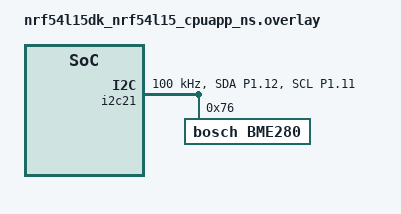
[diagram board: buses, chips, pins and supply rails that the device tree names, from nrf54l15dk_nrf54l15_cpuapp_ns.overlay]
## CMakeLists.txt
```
#
# Copyright (c) 2023 Nordic Semiconductor ASA
#
# SPDX-License-Identifier: LicenseRef-Nordic-5-Clause
#

cmake_minimum_required(VERSION 3.20.0)

# Zephyr CMake project
find_package(Zephyr REQUIRED HINTS $ENV{ZEPHYR_BASE})
project(sidewalk_sid_end_device)

# Source files
target_include_directories(app PRIVATE include)
target_sources(app PRIVATE
src/main.c
src/sidewalk.c
src/sidewalk_events.c
)

target_sources_ifdef(CONFIG_SIDEWALK_FILE_TRANSFER app PRIVATE 
    src/sbdt/scratch_buffer.c
)
target_sources_ifdef(CONFIG_SIDEWALK_FILE_TRANSFER_DFU app PRIVATE
    src/sbdt/dfu_file_transfer.c
)

if(CONFIG_SID_END_DEVICE_SENSOR_MONITORING)
    target_sources(app PRIVATE
        src/sensor_monitoring/app_buttons.c
        src/sensor_monitoring/app_leds.c
        src/sensor_monitoring/app_sensor.c
        src/sensor_monitoring/app_tx.c
        src/sensor_monitoring/app_rx.c
        src/sensor_monitoring/app.c
    )
elseif(CONFIG_SID_END_DEVICE_DUT)
    target_sources(app PRIVATE
        src/cli/app.c
    )
else()
    target_sources(app PRIVATE
        src/hello/app.c
    )
endif()

if(CONFIG_SID_END_DEVICE_CLI)
    target_sources(app PRIVATE
        src/cli/app_dut.c
        src/cli/app_shell.c
    )
    target_sources_ifdef(CONFIG_SIDEWALK_FILE_TRANSFER_SHELL app PRIVATE
        src/cli/sbdt_shell.c
        src/cli/sbdt_shell_events.c
        src/cli/sbdt_shell_file_transfer.c
    )
    target_sources_ifdef(CONFIG_SIDEWALK_ON_DEV_CERT app PRIVATE 
        src/cli/sid_on_dev_cert_cli.c
    )
    target_sources_ifdef(CONFIG_SIDEWALK_LOCATION_SHELL app PRIVATE
        src/cli/location_shell.c
        src/cli/location_shell_events.c
    )
endif()
```

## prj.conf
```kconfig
#
# Copyright (c) 2023 Nordic Semiconductor ASA
#
# SPDX-License-Identifier: LicenseRef-Nordic-5-Clause
#

CONFIG_STATIC_INIT_GNU=y

# Sidewalk
CONFIG_SIDEWALK=y
CONFIG_SMF=y

# Log
CONFIG_LOG=y
CONFIG_LOG_PRINTK=y
CONFIG_LOG_BUFFER_SIZE=4096

# Bluetooth
CONFIG_BT_DEVICE_NAME="Nordic"

# Stack and Heap
CONFIG_SYSTEM_WORKQUEUE_STACK_SIZE=4096
CONFIG_HEAP_MEM_POOL_SIZE=4096
CONFIG_MBEDTLS_HEAP_SIZE=4096

# Power Management
CONFIG_PM_DEVICE=y

# Debug
CONFIG_NCS_APPLICATION_BOOT_BANNER_STRING="Sidewalk"
CONFIG_RESET_ON_FATAL_ERROR=n
CONFIG_SYS_HEAP_RUNTIME_STATS=y

# BME280 / I2C sensor support
CONFIG_I2C=y
CONFIG_SENSOR=y
CONFIG_BME280=y
```

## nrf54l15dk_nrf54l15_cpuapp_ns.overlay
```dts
/*
 * Copyright (c) 2024 Nordic Semiconductor ASA
 *
 * SPDX-License-Identifier: LicenseRef-Nordic-5-Clause
 */

 /{
	aliases {
		state-notifier-connected = &led0;
		state-notifier-time-sync = &led1;
		state-notifier-registered = &led2;
		state-notifier-working = &led3;
	};
};

&cpuapp_rram {
	reg = <0x0 DT_SIZE_K(1524)>;
};

&cpuapp_sram {
	reg = <0x20000000 DT_SIZE_K(256)>;
	ranges = <0x0 0x20000000  0x40000>;
};

&adc {
	status = "disabled";
};

&uart21 {
	status = "disabled";
};

&pwm20 {
	status = "disabled";
};

&i2c20 {
	status = "disabled";
};

&spi20 {
	status = "disabled";
};

&spi22 {
	status = "disabled";
};

/*
 * BME280 on I2C.
 *
 * Wiring:
 *   BME280 VIN/VCC -> DK VDDIO
 *   BME280 GND     -> DK GND
 *   BME280 SDA     -> DK P1.12
 *   BME280 SCL     -> DK P1.11
 *   BME280 CSB     -> DK VDDIO
 *   BME280 SDO     -> DK GND
 *
 * SDO = GND selects I2C address 0x76.
 * If SDO is connected to VDDIO instead, change reg = <0x77>.
 */
&pinctrl {
	i2c21_default: i2c21_default {
		group1 {
			psels = <NRF_PSEL(TWIM_SDA, 1, 12)>,
				<NRF_PSEL(TWIM_SCL, 1, 11)>;
			bias-pull-up;
		};
	};

	i2c21_sleep: i2c21_sleep {
		group1 {
			psels = <NRF_PSEL(TWIM_SDA, 1, 12)>,
				<NRF_PSEL(TWIM_SCL, 1, 11)>;
			low-power-enable;
		};
	};
};

&i2c21 {
	compatible = "nordic,nrf-twim";
	status = "okay";
	pinctrl-0 = <&i2c21_default>;
	pinctrl-1 = <&i2c21_sleep>;
	pinctrl-names = "default", "sleep";
	clock-frequency = <I2C_BITRATE_STANDARD>;

	bme280: bme280@76 {
		compatible = "bosch,bme280";
		reg = <0x76>;
	};
};

// TODO: re-enable HWFC once it's fixed
&uart20 {
	/delete-property/ hw-flow-control;
};


// Change IRQ ids to handle button interrupts.

// The default values for nRF54L15 are 219 and 269,
// but with TF-M they are reserved for the secure domain
// (218 and 268 are reserved for the non-secure domain).
&gpiote20 {
	interrupts = <218 NRF_DEFAULT_IRQ_PRIORITY>;
};

&gpiote30 {
	interrupts = <268 NRF_DEFAULT_IRQ_PRIORITY>;
};
```

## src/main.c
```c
/*
 * Copyright (c) 2023 Nordic Semiconductor ASA
 *
 * SPDX-License-Identifier: LicenseRef-Nordic-5-Clause
 */

#include <app.h>
#include <zephyr/logging/log.h>
#include <sidewalk_version.h>

int main(void)
{
	PRINT_SIDEWALK_VERSION();

	app_start();

	return 0;
}
```

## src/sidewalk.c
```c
/*
 * Copyright (c) 2023 Nordic Semiconductor ASA
 *
 * SPDX-License-Identifier: LicenseRef-Nordic-5-Clause
 */
#include <sid_api.h>
#include <sid_error.h>
#include <sidewalk.h>

#include <zephyr/kernel.h>
#include <zephyr/logging/log.h>

LOG_MODULE_REGISTER(sidewalk_app, CONFIG_SIDEWALK_LOG_LEVEL);

static struct k_thread sid_thread;
K_THREAD_STACK_DEFINE(sid_thread_stack, CONFIG_SIDEWALK_THREAD_STACK_SIZE);

K_MSGQ_DEFINE(sidewalk_thread_msgq, sizeof(sidewalk_ctx_event_t), CONFIG_SIDEWALK_THREAD_QUEUE_SIZE,
	      4);

K_SEM_DEFINE(sid_thread_started, 0, 1);

static void sid_thread_entry(void *context, void *unused, void *unused2)
{
	ARG_UNUSED(unused);
	ARG_UNUSED(unused2);

	sidewalk_ctx_t *sid = (sidewalk_ctx_t *)context;
	sidewalk_ctx_event_t event = {};

	k_sem_give(&sid_thread_started);

	while (1) {
		int err = k_msgq_get(&sidewalk_thread_msgq, &event, K_FOREVER);
		switch (err) {
		case 0: {
			LOG_DBG("event received %p (%s) sidewalk workq usage (%d/%d) ( after get )",
				(void *)(event.handler), EVENT_TO_NAME(event.handler),
				k_msgq_num_used_get(&sidewalk_thread_msgq),
				CONFIG_SIDEWALK_THREAD_QUEUE_SIZE);
			if (event.handler) {
				event.handler(sid, event.ctx);
			}
			if (event.ctx_free) {
				event.ctx_free(event.ctx);
			}
			break;
		}
		case -EAGAIN:
		case -ENOMSG: {
			// Do nothing, timeout
			break;
		}
		default: {
			LOG_ERR("Sidewalk msgq err %d", err);
		}
		}
	}

	LOG_ERR("Sidewalk thread ends. You should never see this message.");
}

void sidewalk_start(sidewalk_ctx_t *context)
{
	(void)k_thread_create(&sid_thread, sid_thread_stack,
			      K_THREAD_STACK_SIZEOF(sid_thread_stack), sid_thread_entry, context,
			      NULL, NULL, CONFIG_SIDEWALK_THREAD_PRIORITY, 0, K_NO_WAIT);
	(void)k_thread_name_set(&sid_thread, "sidewalk");
	k_sem_take(&sid_thread_started, K_FOREVER);
}

int sidewalk_event_send(event_handler_t event, void *ctx, ctx_free free)
{
	sidewalk_ctx_event_t ctx_event = {
		.handler = event,
		.ctx = ctx,
		.ctx_free = free,
	};

	k_timeout_t timeout = K_NO_WAIT;
	int result = -EFAULT;

#if defined(CONFIG_SIDEWALK_THREAD_QUEUE_TIMEOUT_VALUE) &&                                         \
	CONFIG_SIDEWALK_THREAD_QUEUE_TIMEOUT_VALUE > 0
	if (!k_is_in_isr()) {
		timeout = K_MSEC(CONFIG_SIDEWALK_THREAD_QUEUE_TIMEOUT_VALUE);
	}
#endif /* CONFIG_SIDEWALK_THREAD_QUEUE_TIMEOUT_VALUE > 0 */
	result = k_msgq_put(&sidewalk_thread_msgq, (void *)&ctx_event, timeout);
	LOG_DBG("sidewalk_event_send event = %p (%s), context = %p, k_msgq_put result %d sidewalk workq usage (%d/%d) (after put)",
		(void *)event, EVENT_TO_NAME(event), ctx, result,
		k_msgq_num_used_get(&sidewalk_thread_msgq), CONFIG_SIDEWALK_THREAD_QUEUE_SIZE);

	return result;
}
```

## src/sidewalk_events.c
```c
/*
 * Copyright (c) 2024 Nordic Semiconductor ASA
 *
 * SPDX-License-Identifier: LicenseRef-Nordic-5-Clause
 */

#include "json_printer/sidTypes2str.h"
#include <sidewalk.h>
#include <sid_error.h>
#include <app_mfg_config.h>
#include <sid_pal_common_ifc.h>
#include <sid_hal_memory_ifc.h>
#ifdef CONFIG_SIDEWALK_SUBGHZ_SUPPORT
#include <app_subGHz_config.h>
#include <sid_pal_radio_ifc.h>
#ifdef CONFIG_SIDEWALK_SUBGHZ_RADIO_LR1110
#include <app_location_lr11xx_config.h>
#endif /* CONFIG_SIDEWALK_SUBGHZ_RADIO_LR1110 */
#endif /* CONFIG_SIDEWALK_SUBGHZ_SUPPORT */

#include <zephyr/logging/log.h>
#include <zephyr/logging/log_ctrl.h>
#include <zephyr/sys/reboot.h>
#include <json_printer/sidTypes2Json.h>
#include <sidewalk_dfu/nordic_dfu.h>
#ifdef CONFIG_SID_END_DEVICE_PERSISTENT_LINK_MASK
#include <settings_utils.h>
#endif /* CONFIG_SID_END_DEVICE_PERSISTENT_LINK_MASK */

#ifdef CONFIG_SIDEWALK_FILE_TRANSFER_DFU
#include <sbdt/dfu_file_transfer.h>
#include <zephyr/dfu/mcuboot.h>
#endif /* CONFIG_SIDEWALK_FILE_TRANSFER_DFU */

LOG_MODULE_REGISTER(sidewalk_events, CONFIG_SIDEWALK_LOG_LEVEL);

#ifdef CONFIG_SIDEWALK_SUBGHZ_SUPPORT
static sid_pal_radio_rx_packet_t radio_rx_packet;

static void radio_event_notifier(sid_pal_radio_events_t event)
{
	LOG_DBG("Radio event %d", event);
}

static void radio_irq_handler(void)
{
	LOG_DBG("Radio IRQ");
}
#endif /* CONFIG_SIDEWALK_SUBGHZ_SUPPORT */

// private
void sidewalk_event_process(sidewalk_ctx_t *sid, void *ctx)
{
	if (sid == NULL || sid->handle == NULL) {
		LOG_INF("sidewalk need to be started first.");
		return;
	}
	sid_error_t e = sid_process(sid->handle);
	if (e) {
		LOG_ERR("sid process err  %d (%s)", (int)e, SID_ERROR_T_STR(e));
	}
}

void sidewalk_event_platform_init(sidewalk_ctx_t *sid, void *ctx)
{
	platform_parameters_t platform_parameters = {
		.mfg_store_region.addr_start = APP_MFG_CFG_FLASH_START,
		.mfg_store_region.addr_end = APP_MFG_CFG_FLASH_END,
#ifdef CONFIG_SIDEWALK_SUBGHZ_SUPPORT
		.platform_init_parameters.radio_cfg = get_radio_cfg(),
#ifdef CONFIG_SIDEWALK_SUBGHZ_RADIO_LR1110
		.platform_init_parameters.gnss_wifi_cfg =
			(lr11xx_gnss_wifi_config_t *)get_location_cfg(),
#endif /* CONFIG_SIDEWALK_SUBGHZ_RADIO_LR1110 */
#endif /* CONFIG_SIDEWALK_SUBGHZ_SUPPORT */
	};

	sid_error_t e = sid_platform_init(&platform_parameters);
	if (SID_ERROR_NONE != e) {
		LOG_ERR("Sidewalk Platform Init err:  %d (%s)", (int)e, SID_ERROR_T_STR(e));
		return;
	}
	if (app_mfg_cfg_is_empty()) {
		LOG_ERR("The mfg.hex version mismatch");
		LOG_ERR("Check if the file has been generated and flashed properly");
		LOG_ERR("START ADDRESS: 0x%08x", APP_MFG_CFG_FLASH_START);
		LOG_ERR("SIZE: 0x%08x", APP_MFG_CFG_FLASH_SIZE);
		return;
	}

#ifdef CONFIG_SIDEWALK_SUBGHZ_SUPPORT
	int32_t err = 0;
	err = sid_pal_radio_init(radio_event_notifier, radio_irq_handler, &radio_rx_packet);
	if (err) {
		LOG_ERR("radio init err %d", err);
	}
	err = sid_pal_radio_sleep(0);
	if (err) {
		LOG_ERR("radio sleep err %d", err);
	}
#endif /* CONFIG_SIDEWALK_SUBGHZ_SUPPORT */
}

void sidewalk_event_autostart(sidewalk_ctx_t *sid, void *ctx)
{
	if (sid->handle != NULL) {
		LOG_INF("Sidewlak is already running");
		return;
	}
	if (app_mfg_cfg_is_empty()) {
		LOG_ERR("The mfg.hex version mismatch");
		LOG_ERR("Check if the file has been generated and flashed properly");
		LOG_ERR("START ADDRESS: 0x%08x", APP_MFG_CFG_FLASH_START);
		LOG_ERR("SIZE: 0x%08x", APP_MFG_CFG_FLASH_SIZE);
		return;
	}
#ifdef CONFIG_SID_END_DEVICE_PERSISTENT_LINK_MASK
	int err = settings_utils_link_mask_get(&sid->config.link_mask);
	if (err <= 0) {
		LOG_WRN("Link mask get failed %d", err);
		sid->config.link_mask = 0;
		settings_utils_link_mask_set(DEFAULT_LM);
	}
#endif /* CONFIG_SID_END_DEVICE_PERSISTENT_LINK_MASK */

	if (!sid->config.link_mask) {
		sid->config.link_mask = DEFAULT_LM;
	}

	LOG_INF("Sidewalk link switch to %s", (SID_LINK_TYPE_3 & sid->config.link_mask) ? "LoRa" :
					      (SID_LINK_TYPE_2 & sid->config.link_mask) ? "FSK" :
											  "BLE");
	sid_error_t e = sid_init(&sid->config, &sid->handle);
	if (e) {
		LOG_ERR("sid init err %d (%s)", (int)e, SID_ERROR_T_STR(e));
		return;
	}

	e = sid_start(sid->handle, sid->config.link_mask);
	if (e) {
		LOG_ERR("sid start err %d (%s)", (int)e, SID_ERROR_T_STR(e));
	}

#if CONFIG_SID_END_DEVICE_AUTO_CONN_REQ
	if (sid->config.link_mask & SID_LINK_TYPE_1) {
		enum sid_link_connection_policy set_policy =
			SID_LINK_CONNECTION_POLICY_AUTO_CONNECT;

		e = sid_option(sid->handle, SID_OPTION_SET_LINK_CONNECTION_POLICY, &set_policy,
			       sizeof(set_policy));
		if (e) {
			LOG_ERR("sid option multi link manager err %d", (int)e);
		}

		struct sid_link_auto_connect_params ac_params = {
			.link_type = SID_LINK_TYPE_1,
			.enable = true,
			.priority = 0,
			.connection_attempt_timeout_seconds = 30
		};

		e = sid_option(sid->handle, SID_OPTION_SET_LINK_POLICY_AUTO_CONNECT_PARAMS,
			       &ac_params, sizeof(ac_params));
		if (e) {
			LOG_ERR("sid option multi link policy err %d", (int)e);
		}
	}
#endif /* CONFIG_SID_END_DEVICE_AUTO_CONN_REQ */
#ifdef CONFIG_SIDEWALK_FILE_TRANSFER_DFU
	int dfu_err = boot_write_img_confirmed();
	if (dfu_err) {
		LOG_ERR("img confirm fail %d", dfu_err);
	}
	app_file_transfer_demo_init(sid->handle);
#endif /* CONFIG_SIDEWALK_FILE_TRANSFER_DFU */
}

void sidewalk_event_factory_reset(sidewalk_ctx_t *sid, void *ctx)
{
	if (sid == NULL || sid->handle == NULL) {
		LOG_INF("sidewalk need to be started first.");
		return;
	}
#ifdef CONFIG_SID_END_DEVICE_PERSISTENT_LINK_MASK
	(void)settings_utils_link_mask_set(0);
#endif /* CONFIG_SIDEWALK_PERSISTENT_LINK_MASK */
	sid_error_t e = sid_set_factory_reset(sid->handle);
	if (e) {
		LOG_ERR("sid factory reset err  %d (%s)", (int)e, SID_ERROR_T_STR(e));
	}
}

void sidewalk_event_new_status(sidewalk_ctx_t *sid, void *ctx)
{
	struct sid_status *p_status = (struct sid_status *)ctx;
	if (!p_status) {
		LOG_ERR("sid new status is NULL");
		return;
	}

	memcpy(&sid->last_status, p_status, sizeof(struct sid_status));
}
void sidewalk_event_send_msg(sidewalk_ctx_t *sid, void *ctx)
{
	if (sid == NULL || sid->handle == NULL) {
		LOG_INF("sidewalk need to be started first.");
		return;
	}
	sidewalk_msg_t *p_msg = (sidewalk_msg_t *)ctx;
	if (!p_msg) {
		LOG_ERR("sid send msg is NULL");
		return;
	}

	sid_error_t e = sid_put_msg(sid->handle, &p_msg->msg, &p_msg->desc);
	if (e) {
		LOG_ERR("sid send err %d", (int)e);
		return;
	}
	LOG_DBG("sid send (type: %d, id: %u)", (int)p_msg->desc.type, p_msg->desc.id);
}
void sidewalk_event_connect(sidewalk_ctx_t *sid, void *ctx)
{
	if (sid == NULL || sid->handle == NULL) {
		LOG_INF("sidewalk need to be started first.");
		return;
	}
	if (!(sid->config.link_mask & SID_LINK_TYPE_1)) {
		LOG_ERR("Can not request connection - BLE not enabled");
		return;
	}
	sid_error_t e = sid_ble_bcn_connection_request(sid->handle, true);
	if (e) {
		LOG_ERR("sid conn req err %d (%s)", (int)e, SID_ERROR_T_STR(e));
	}
}
void sidewalk_event_link_switch(sidewalk_ctx_t *sid, void *ctx)
{
	if (sid == NULL || sid->handle == NULL) {
		LOG_INF("Can not change link if sidewalk was not started yet");
		return;
	}
	static uint32_t new_link_mask = DEFAULT_LM;

	switch (sid->config.link_mask) {
	case SID_LINK_TYPE_1:
		new_link_mask = SID_LINK_TYPE_2;
		break;
	case SID_LINK_TYPE_2:
		new_link_mask = SID_LINK_TYPE_1 | SID_LINK_TYPE_3;
		break;
	default:
		new_link_mask = SID_LINK_TYPE_1;
		break;
	}
	sid->config.link_mask = new_link_mask;

	LOG_INF("Sidewalk link switch to %s", (SID_LINK_TYPE_3 & new_link_mask) ? "LoRa" :
					      (SID_LINK_TYPE_2 & new_link_mask) ? "FSK" :
										  "BLE");
#ifdef CONFIG_SID_END_DEVICE_PERSISTENT_LINK_MASK
	int err = settings_utils_link_mask_set(new_link_mask);
	if (err) {
		LOG_ERR("New link mask set err %d", err);
	}
#endif /* CONFIG_SID_END_DEVICE_PERSISTENT_LINK_MASK */

	if (sid->handle != NULL) {
#ifdef CONFIG_SIDEWALK_FILE_TRANSFER_DFU
		app_file_transfer_demo_deinit(sid->handle);
#endif
		(void)sid_process(sid->handle);
		sid_error_t e = sid_deinit(sid->handle);
		if (e) {
			LOG_ERR("sid deinit err %d (%s)", (int)e, SID_ERROR_T_STR(e));
		}
	}

	sid_error_t e = sid_init(&sid->config, &sid->handle);
	if (e) {
		LOG_ERR("sid init err %d (%s)", (int)e, SID_ERROR_T_STR(e));
	}
#ifdef CONFIG_SIDEWALK_FILE_TRANSFER_DFU
	app_file_transfer_demo_init(sid->handle);
#endif
	e = sid_start(sid->handle, sid->config.link_mask);
	if (e) {
		LOG_ERR("sid start err %d (%s)", (int)e, SID_ERROR_T_STR(e));
	}
#if CONFIG_SID_END_DEVICE_AUTO_CONN_REQ
	if (sid->config.link_mask & SID_LINK_TYPE_1) {
		enum sid_link_connection_policy set_policy =
			SID_LINK_CONNECTION_POLICY_AUTO_CONNECT;

		e = sid_option(sid->handle, SID_OPTION_SET_LINK_CONNECTION_POLICY, &set_policy,
			       sizeof(set_policy));
		if (e) {
			LOG_ERR("sid option multi link manager err %d (%s)", (int)e,
				SID_ERROR_T_STR(e));
		}

		struct sid_link_auto_connect_params ac_params = {
			.link_type = SID_LINK_TYPE_1,
			.enable = true,
			.priority = 0,
			.connection_attempt_timeout_seconds = 30
		};

		e = sid_option(sid->handle, SID_OPTION_SET_LINK_POLICY_AUTO_CONNECT_PARAMS,
			       &ac_params, sizeof(ac_params));
		if (e) {
			LOG_ERR("sid option multi link policy err %d (%s)", (int)e,
				SID_ERROR_T_STR(e));
		}
	}
#endif /* CONFIG_SID_END_DEVICE_AUTO_CONN_REQ */
}

void sidewalk_event_exit(sidewalk_ctx_t *sid, void *ctx)
{
	if (sid == NULL || sid->handle == NULL) {
		LOG_INF("Sidewalk is already deinitialized");
		return;
	}
#ifdef CONFIG_SIDEWALK_FILE_TRANSFER_DFU
	app_file_transfer_demo_deinit(sid->handle);
#endif
	(void)sid_process(sid->handle);
	(void)sid_deinit(sid->handle);
}

void sidewalk_event_reboot(sidewalk_ctx_t *sid, void *ctx)
{
	LOG_INF("Rebooting...");
	LOG_PANIC();
	sys_reboot(SYS_REBOOT_WARM);
}
```
